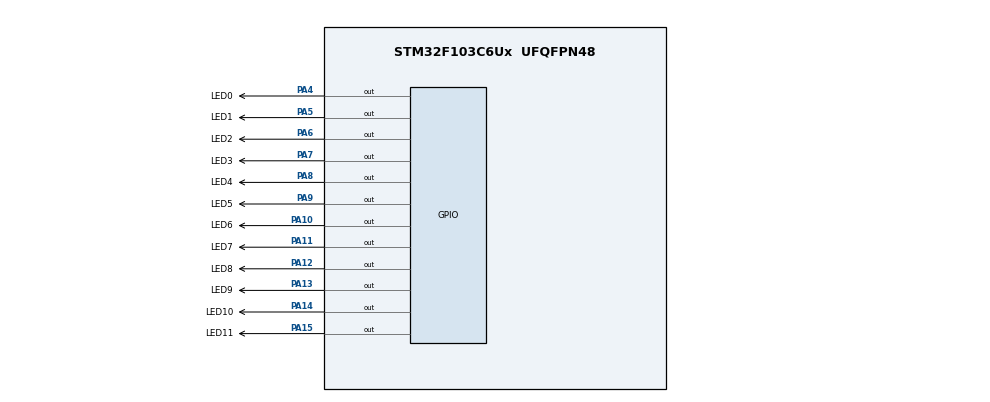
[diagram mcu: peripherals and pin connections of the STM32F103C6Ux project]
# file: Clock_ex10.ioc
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Mcu.Family=STM32F1
Mcu.Name=STM32F103C6Ux
Mcu.Package=UFQFPN48
NVIC.PriorityGroup=NVIC_PRIORITYGROUP_4
PA10.GPIO_Label=LED6
PA10.Signal=GPIO_Output
PA11.GPIO_Label=LED7
PA11.Signal=GPIO_Output
PA12.GPIO_Label=LED8
PA12.Signal=GPIO_Output
PA13.GPIO_Label=LED9
PA13.Signal=GPIO_Output
PA14.GPIO_Label=LED10
PA14.Signal=GPIO_Output
PA15.GPIO_Label=LED11
PA15.Signal=GPIO_Output
PA4.GPIO_Label=LED0
PA4.Signal=GPIO_Output
PA5.GPIO_Label=LED1
PA5.Signal=GPIO_Output
PA6.GPIO_Label=LED2
PA6.Signal=GPIO_Output
PA7.GPIO_Label=LED3
PA7.Signal=GPIO_Output
PA8.GPIO_Label=LED4
PA8.Signal=GPIO_Output
PA9.GPIO_Label=LED5
PA9.Signal=GPIO_Output
ProjectManager.HeapSize=0x200
ProjectManager.StackSize=0x400
ProjectManager.TargetToolchain=STM32CubeIDE
RCC.APB1Freq_Value=8000000
RCC.APB2Freq_Value=8000000
VP_SYS_VS_ND.Mode=No_Debug
board=custom

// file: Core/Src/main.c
/* USER CODE BEGIN Header */
/**
  ******************************************************************************
  * @file           : main.c
  * @brief          : Main program body
  ******************************************************************************
  * @attention
  *
  * <h2><center>&copy; Copyright (c) 2022 STMicroelectronics.
  * All rights reserved.</center></h2>
  *
  * This software component is licensed by ST under BSD 3-Clause license,
  * the "License"; You may not use this file except in compliance with the
  * License. You may obtain a copy of the License at:
  *                        opensource.org/licenses/BSD-3-Clause
  *
  ******************************************************************************
  */
/* USER CODE END Header */
#include "main.h"

void SystemClock_Config(void);
static void MX_GPIO_Init(void);

/* USER CODE BEGIN 0 */
void clearAllClock(){ //Function to turn of 12 LEDs
	HAL_GPIO_WritePin(GPIOA, LED0_Pin|LED1_Pin|LED2_Pin|LED3_Pin
		                           |LED4_Pin|LED5_Pin|LED6_Pin|LED7_Pin
		                           |LED8_Pin|LED9_Pin|LED10_Pin|LED11_Pin, RESET);
}

void setNumberOnCLock(int num){ //Function to turn on the appropriate LED
	switch(num){
		case 0:
			HAL_GPIO_WritePin(GPIOA, LED0_Pin, SET);
		break;

		case 1:
			HAL_GPIO_WritePin(GPIOA, LED1_Pin, SET);
		break;

		case 2:
			HAL_GPIO_WritePin(GPIOA, LED2_Pin, SET);
		break;

		case 3:
			HAL_GPIO_WritePin(GPIOA, LED3_Pin, SET);
		break;

		case 4:
			HAL_GPIO_WritePin(GPIOA, LED4_Pin, SET);
		break;

		case 5:
			HAL_GPIO_WritePin(GPIOA, LED5_Pin, SET);
		break;

		case 6:
			HAL_GPIO_WritePin(GPIOA, LED6_Pin, SET);
		break;

		case 7:
			HAL_GPIO_WritePin(GPIOA, LED7_Pin, SET);
		break;

		case 8:
			HAL_GPIO_WritePin(GPIOA, LED8_Pin, SET);
		break;

		case 9:
			HAL_GPIO_WritePin(GPIOA, LED9_Pin, SET);
		break;

		case 10:
			HAL_GPIO_WritePin(GPIOA, LED10_Pin, SET);
		break;

		case 11:
			HAL_GPIO_WritePin(GPIOA, LED11_Pin, SET);
		break;
	}
}

void clearNumberOnClock(int num){ //Function to turn off the appropriate LED
	switch(num){
		case 0:
			HAL_GPIO_WritePin(GPIOA, LED0_Pin, RESET);
		break;

		case 1:
			HAL_GPIO_WritePin(GPIOA, LED1_Pin, RESET);
		break;

		case 2:
			HAL_GPIO_WritePin(GPIOA, LED2_Pin, RESET);
		break;

		case 3:
			HAL_GPIO_WritePin(GPIOA, LED3_Pin, RESET);
		break;

		case 4:
			HAL_GPIO_WritePin(GPIOA, LED4_Pin, RESET);
		break;

		case 5:
			HAL_GPIO_WritePin(GPIOA, LED5_Pin, RESET);
		break;

		case 6:
			HAL_GPIO_WritePin(GPIOA, LED6_Pin, RESET);
		break;

		case 7:
			HAL_GPIO_WritePin(GPIOA, LED7_Pin, RESET);
		break;

		case 8:
			HAL_GPIO_WritePin(GPIOA, LED8_Pin, RESET);
		break;

		case 9:
			HAL_GPIO_WritePin(GPIOA, LED9_Pin, RESET);
		break;

		case 10:
			HAL_GPIO_WritePin(GPIOA, LED10_Pin, RESET);
		break;

		case 11:
			HAL_GPIO_WritePin(GPIOA, LED11_Pin, RESET);
		break;
	}
}
/* USER CODE END 0 */

int main(void)
{

  /* MCU Configuration--------------------------------------------------------*/

  /* Reset of all peripherals, Initializes the Flash interface and the Systick. */
  HAL_Init();

  /* Configure the system clock */
  SystemClock_Config();

  /* Initialize all configured peripherals */
  MX_GPIO_Init();

  /* Infinite loop */
  /* USER CODE BEGIN WHILE */
  int hour = 0, minute = 0, second = 0;
  while (1)
  {
	  clearAllClock();
	  setNumberOnCLock(hour);
	  setNumberOnCLock(minute/5);
	  setNumberOnCLock(second/5);

	  if(second >= 60)
	  	{
	  		minute += 1;
	  		second = 0;
	  	}
	  	if(minute >= 60)
	  	{
	  		hour += 1;
	  		minute = 0;
	  	}
	  	if(hour >= 12)	hour = 0;
	  	second++;
	  	HAL_Delay(100);
    /* USER CODE END WHILE */

  }
}

void SystemClock_Config(void)
{
  RCC_OscInitTypeDef RCC_OscInitStruct = {0};
  RCC_ClkInitTypeDef RCC_ClkInitStruct = {0};

  /** Initializes the RCC Oscillators according to the specified parameters
  * in the RCC_OscInitTypeDef structure.
  */
  RCC_OscInitStruct.OscillatorType = RCC_OSCILLATORTYPE_HSI;
  RCC_OscInitStruct.HSIState = RCC_HSI_ON;
  RCC_OscInitStruct.HSICalibrationValue = RCC_HSICALIBRATION_DEFAULT;
  RCC_OscInitStruct.PLL.PLLState = RCC_PLL_NONE;
  if (HAL_RCC_OscConfig(&RCC_OscInitStruct) != HAL_OK)
  {
    Error_Handler();
  }
  /** Initializes the CPU, AHB and APB buses clocks
  */
  RCC_ClkInitStruct.ClockType = RCC_CLOCKTYPE_HCLK|RCC_CLOCKTYPE_SYSCLK
                              |RCC_CLOCKTYPE_PCLK1|RCC_CLOCKTYPE_PCLK2;
  RCC_ClkInitStruct.SYSCLKSource = RCC_SYSCLKSOURCE_HSI;
  RCC_ClkInitStruct.AHBCLKDivider = RCC_SYSCLK_DIV1;
  RCC_ClkInitStruct.APB1CLKDivider = RCC_HCLK_DIV1;
  RCC_ClkInitStruct.APB2CLKDivider = RCC_HCLK_DIV1;

  if (HAL_RCC_ClockConfig(&RCC_ClkInitStruct, FLASH_LATENCY_0) != HAL_OK)
  {
    Error_Handler();
  }
}

static void MX_GPIO_Init(void)
{
  GPIO_InitTypeDef GPIO_InitStruct = {0};

  /* GPIO Ports Clock Enable */
  __HAL_RCC_GPIOA_CLK_ENABLE();

  /*Configure GPIO pin Output Level */
  HAL_GPIO_WritePin(GPIOA, LED0_Pin|LED1_Pin|LED2_Pin|LED3_Pin
                          |LED4_Pin|LED5_Pin|LED6_Pin|LED7_Pin
                          |LED8_Pin|LED9_Pin|LED10_Pin|LED11_Pin, GPIO_PIN_RESET);

  /*Configure GPIO pins : LED0_Pin LED1_Pin LED2_Pin LED3_Pin
                           LED4_Pin LED5_Pin LED6_Pin LED7_Pin
                           LED8_Pin LED9_Pin LED10_Pin LED11_Pin */
  GPIO_InitStruct.Pin = LED0_Pin|LED1_Pin|LED2_Pin|LED3_Pin
                          |LED4_Pin|LED5_Pin|LED6_Pin|LED7_Pin
                          |LED8_Pin|LED9_Pin|LED10_Pin|LED11_Pin;
  GPIO_InitStruct.Mode = GPIO_MODE_OUTPUT_PP;
  GPIO_InitStruct.Pull = GPIO_NOPULL;
  GPIO_InitStruct.Speed = GPIO_SPEED_FREQ_LOW;
  HAL_GPIO_Init(GPIOA, &GPIO_InitStruct);

}

void Error_Handler(void)
{
  __disable_irq();
  while (1)
  {
  }
}

/************************ (C) COPYRIGHT STMicroelectronics *****END OF FILE****/
